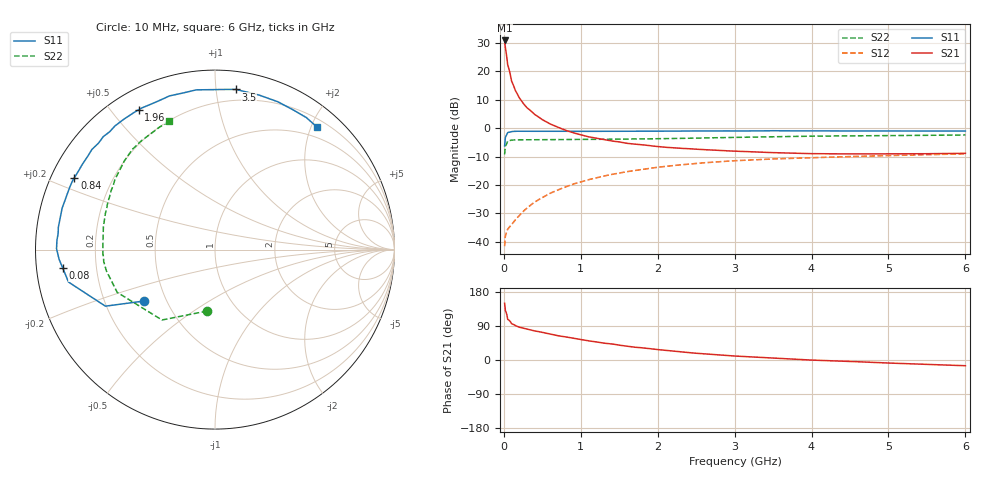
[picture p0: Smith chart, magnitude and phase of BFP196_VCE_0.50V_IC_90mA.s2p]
! Infineon Technologies  Discrete & RF Semiconductors
! BFP196
! VCE = 0.50V,  IC =  90mA
! Common Emitter S-Parameters:  Jan 2016
# GHz  S  MA  R  50
!  f  S11  S21  S12  S22
! GHz  MAG  ANG  MAG  ANG  MAG  ANG  MAG  ANG
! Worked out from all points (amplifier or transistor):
!   210 points, 10 MHz to 6 GHz, reference 50 ohm
!   highest |S21| = 30.8 dB at 10 MHz (marker M1)
!   |S21| within 3 dB of that: start of sweep to 22.85 MHz
!   unconditionally stable (mu >= 1): start of sweep to 15.69 MHz; 135.3 MHz to end of sweep
!   at 185 MHz: K = 1.12, MAG = 19.3 dB, |S12| = -31.2 dB
!   at 1.52 GHz: K = 1.27, MAG = 2.3 dB, |S12| = -15.7 dB
!   at 6 GHz: K = 1.08, MAG = -1.7 dB, |S12| = -9.0 dB
!   S11 on the Smith chart (normalised r, x): 10 MHz: 0.38, -0.28; 80 MHz: 0.08, -0.06; 840 MHz: 0.07, +0.24; 1.96 GHz: 0.08, +0.59; 3.5 GHz: 0.12, +1.13; 6 GHz: 0.32, +2.10
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0.01  0.4874 -144.0  34.85 149.5  0.0084 52.5  0.3451 -97.3
0.02  0.6871 -152.7  26.01 130.1  0.0127 41.8  0.491 -127.0
0.05  0.8359 -167.5  13.08 107.3  0.0167 35.2  0.5947 -156.4
0.08  0.8542 -173.0  9.248 102.4  0.0187 40.1  0.6043 -164.0
0.1  0.8706 -176.5  6.766 96.0  0.0201 42.8  0.6165 -168.9
0.15  0.883 179.6  4.575 90.6  0.0246 49.2  0.6237 -173.6
0.2  0.8821 176.5  3.437 86.6  0.0289 53.8  0.6226 -176.2
0.26  0.8789 173.7  2.646 83.4  0.0352 57.6  0.6252 -178.4
0.3  0.8816 172.0  2.292 81.4  0.0392 59.5  0.624 -179.4
0.4  0.881 168.0  1.747 76.8  0.0499 62.3  0.6251 178.5
0.5  0.8824 164.9  1.41 72.9  0.06 63.9  0.6259 176.7
0.64  0.8798 159.6  1.126 66.9  0.0753 63.6  0.6265 174.6
0.84  0.8796 152.9  0.883 59.7  0.0968 61.6  0.6291 171.8
1.02  0.8784 146.7  0.75 53.5  0.1155 59.6  0.6329 169.4
1.3  0.8793 137.5  0.627 44.5  0.1437 54.9  0.6374 165.5
1.96  0.8877 118.6  0.481 28.5  0.2019 43.3  0.6513 156.7
2.02  0.8877 116.9  0.471 27.1  0.2065 42.1  0.653 155.8
3.1  0.8919 90.4  0.388 9.5  0.2709 23.7  0.69 140.8
3.5  0.9001 82.6  0.371 5.0  0.2872 17.7  0.7061 135.7
4.1  0.8942 72.7  0.355 -0.9  0.3049 9.9  0.725 128.4
5.1  0.8917 59.8  0.354 -8.7  0.3311 -1.4  0.7394 118.2
6  0.8887 50.1  0.361 -15.1  0.3532 -11.3  0.7579 109.6
